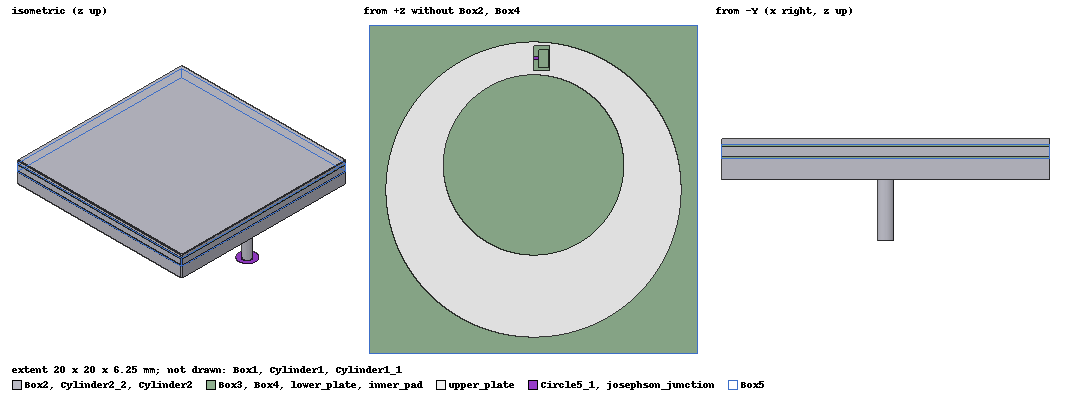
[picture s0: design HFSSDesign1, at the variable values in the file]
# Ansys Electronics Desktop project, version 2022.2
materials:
  vacuum: permittivity=1
  perfect conductor: conductivity=1e+30
  sapphire: permittivity=10
  aluminum: permeability=1.000021 conductivity=38000000
  gallium_arsenide: permittivity=12.9
  alumina_92pct: permittivity=9.2 dielectric_loss_tangent=0.008
  Al2_O3_ceramic: permittivity=9.8

design HFSSDesign1 (HFSS, Eigenmode, model units mm)
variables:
  pad_x = 20mm
  pad_y = 20mm
  pad_z = 10mm
  radius1 = 9mm
  epsilon = 0.5mm
  offset = 0.5mm
  rect_x = 1mm
  radius2 = 5.5mm
  shift = 1.5mm
  offset_rect_pad = 0.2mm
  jj_y = 0.2mm
  Lj = 20nH
  radius3 = 1mm
  height = 3.75mm
  radius4 = 0.5mm
  offset_z = -0.1mm
  Cj = 5pF  # optimise 2.5pF..7.5pF; sensitivity 2.5pF..7.5pF; tune 2.5pF..7.5pF
  delta = 0.1mm
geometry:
  Box1 [vacuum] = box(corner=(-pad_x/2, -pad_y/2, -pad_z/2), size=(pad_x + delta, pad_y + delta, pad_z + delta))
  Box2 [perfect conductor] = box(corner=(-pad_x/2, -pad_y/2, -pad_z/8), size=(pad_x, pad_y, pad_z/4))
  upper_plate [Al2_O3_ceramic] = circle(normal=Z, centre=(0mm, 0mm, pad_z/8-epsilon), radius=radius1)
  Circle2 = circle(normal=Z, centre=(0mm, shift, pad_z/8-epsilon), radius=radius2)
  upper_plate.subtract(Circle2)
  Rectangle1 = rectangle(corner=(0, radius2 + shift + offset /2, pad_z/8-epsilon), x_size=rect_x, y_size=radius1-radius2-shift-offset)
  upper_plate.subtract(Rectangle1)
  Box3 [sapphire] = box(corner=(-pad_x/2, -pad_y/2, pad_z/16 - epsilon - epsilon/4), size=(pad_x, pad_y, epsilon/4))
  lower_plate [Al2_O3_ceramic] = circle(normal=Z, centre=(0mm, 0mm, (pad_z/16-epsilon)), radius=radius1)
  Circle4 = circle(normal=Z, centre=(0mm, shift, (pad_z/16-epsilon)), radius=radius2)
  lower_plate.subtract(Circle4)
  inner_pad [Al2_O3_ceramic] = rectangle(corner=(rect_x /2- offset_rect_pad, radius2 + shift + offset /2 + offset_rect_pad, pad_z/8-epsilon), x_size=rect_x - offset_rect_pad*2, y_size=radius1-radius2-shift-offset - offset_rect_pad*2)
  josephson_junction [gallium_arsenide] = rectangle(corner=(rect_x /2- offset_rect_pad, radius2 + shift + offset /2 + offset_rect_pad  +(radius1-radius2-shift-offset - offset_rect_pad*2)/2 - jj_y /2, pad_z/8-epsilon), x_size=-offset_rect_pad - offset_rect_pad/2, y_size=jj_y)
  Box4 [sapphire] = box(corner=(-pad_x/2, -pad_y/2, pad_z/16+epsilon/4), size=(pad_x, pad_y, epsilon/4))
  Box5 [vacuum] = box(corner=(-pad_x/2, -pad_y/2, pad_z/16 - epsilon - epsilon/4), size=(pad_x, pad_y, 7*epsilon/4))
  Cylinder1 [vacuum] = cylinder(axis=Z, base_centre=(0, -pad_y/4, -pad_z/2), radius=radius3, height=height)
  Cylinder2 [perfect conductor] = cylinder(axis=Z, base_centre=(0mm, -pad_y/4, -pad_z/2), radius=radius4, height=height)
  Cylinder2_1 = Cylinder2.copy()
  Cylinder1.subtract(Cylinder2_1)
  Cylinder1_1 [vacuum] = Cylinder1.duplicate_along_line(step=(0mm, 13mm, 0mm), total=2)
  Cylinder2_2 [perfect conductor] = Cylinder2.duplicate_along_line(step=(0mm, 13mm, 0mm), total=2)
  Circle5 = circle(normal=Z, centre=(0mm, -pad_y/4, -pad_z/2), radius=radius3)
  Circle6 = circle(normal=Z, centre=(0mm, -pad_y/4, -pad_z/2), radius=radius4)
  Circle5.subtract(Circle6)
  Polyline1 = polyline((rect_x /2- offset_rect_pad, radius2 + shift + offset /2 + offset_rect_pad  +(radius1-radius2-shift-offset - offset_rect_pad*2)/2 + jj_y /16, pad_z/8-epsilon) (rect_x /2- offset_rect_pad  + (-offset_rect_pad - offset_rect_pad/2), radius2 + shift + offset /2 + offset_rect_pad  +(radius1-radius2-shift-offset - offset_rect_pad*2)/2 + jj_y /16, pad_z/8-epsilon))
  [inner_pad, upper_plate, lower_plate].thicken(0.01mm)
  Circle5_1 = Circle5.duplicate_along_line(step=(0mm, 13mm, 0mm), total=2)
  Box2_1 = Box2.copy()
  Box1.subtract(Box2_1)
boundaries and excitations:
  PerfE1: Perfect E Objects=upper_plate
  PerfE2: Perfect E Objects=inner_pad
  PerfE3: Perfect E Objects=lower_plate
  LumpRLC3: Lumped RLC Objects=Circle5 CurrentLine{(-150mm, -5480mm, -5000mm) -> (-200mm, -5970mm, -5000mm)} RLC_Type=Parallel Resistance=50ohm
  LumpRLC4: Lumped RLC Objects=josephson_junction CurrentLine{(0.3, 7.99, 0.75) -> (10mm, 8000mm, 750mm)} RLC_Type=Parallel Inductance=Lj Capacitance=Cj
  LumpRLC5: Lumped RLC Objects=Circle5_1 CurrentLine{(-150mm, 7520mm, -5000mm) -> (-200mm, 7030mm, -5000mm)} RLC_Type=Parallel Resistance=50ohm
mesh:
  initial mesh: GlobalSurfApproximation{CurvedSurfaceApproxChoice=UseSlider SliderMeshSettings=4}
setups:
  Setup5: HfssEigen MinimumFrequency=7.46269GHz NumModes=1 MaxDeltaFreq=10 ConvergeOnRealFreq=false MaximumPasses=3 MinimumPasses=1 MinimumConvergedPasses=1 PercentRefinement=20 MeshLink{ImportMesh LinkID=887 Project="This Project*" Product=HFSS Design="This Design*" Params{Cj=Cj Lj=Lj delta=delta epsilon=epsilon height=height jj_y=jj_y offset=offset offset_rect_pad=offset_rect_pad offset_z=offset_z pad_x=pad_x pad_y=pad_y pad_z=pad_z radius1=radius1 radius2=radius2 radius3=radius3 radius4=radius4 rect_x=rect_x shift=shift} ForceSourceToSolve PreservePartnerSoln PathRelativeTo=TargetProject} BasisOrder=1 DoMaterialLambda=false
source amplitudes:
  #-10:1: 1 0deg
